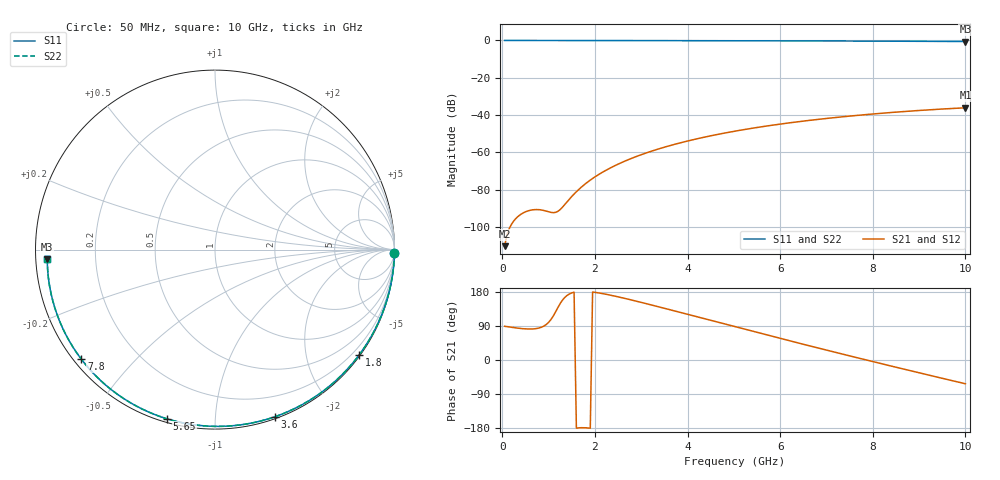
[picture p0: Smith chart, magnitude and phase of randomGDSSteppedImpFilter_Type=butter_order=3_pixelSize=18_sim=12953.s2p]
! freq	dB(S11)	phase(S11)	dB(S12)	phase(S12)
!  dB(S21)	phase(S21)	dB(S22)	phase(S22)
!S-par simulation data
#  GHz  S  DB  R 50
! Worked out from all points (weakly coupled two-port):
!   200 points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, 50 MHz to 10 GHz, reference 50 ohm
!   highest |S21| = -36.13 dB at 10 GHz (marker M1); lowest = -110.4 dB at 50 MHz (marker M2)
!   lowest |S11| = -0.6 dB at 10 GHz (marker M3), VSWR 30.34, Z = 1.65 - j1.45 ohm
!   |S11| at or under -10 dB: nowhere
!   |S22| runs from -0.6 to 0.0 dB; largest |S21 - S12| = 0
!   S11 on the Smith chart (normalised r, x): 50 MHz: open; 1.8 GHz: 0.03, -3.05; 3.6 GHz: 0.02, -1.42; 5.65 GHz: 0.02, -0.76; 7.8 GHz: 0.02, -0.36; 10 GHz: 0.03, -0.03
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0.05  -0.00 -1.0  -110.39 89.0  -110.39 89.0  -0.00 -1.0
0.4  -0.01 -8.2  -93.31 83.1  -93.31 83.1  -0.01 -8.2
0.8  -0.02 -16.3  -90.82 84.6  -90.82 84.6  -0.02 -16.3
1.2  -0.03 -24.4  -91.70 138.3  -91.70 138.3  -0.03 -24.4
1.65  -0.04 -33.3  -79.98 -179.0  -79.98 -179.0  -0.04 -33.3
1.75  -0.04 -35.3  -77.80 -178.6  -77.80 -178.6  -0.04 -35.3
1.8  -0.05 -36.3  -76.80 -178.9  -76.80 -178.9  -0.05 -36.3
2.1  -0.05 -42.1  -71.65 176.7  -71.65 176.7  -0.05 -42.1
2.3  -0.06 -46.0  -68.84 172.0  -68.84 172.0  -0.06 -46.0
2.5  -0.06 -49.8  -66.38 166.7  -66.38 166.7  -0.06 -49.8
2.9  -0.07 -57.4  -62.22 155.1  -62.22 155.1  -0.07 -57.4
3.4  -0.09 -66.7  -58.02 139.6  -58.02 139.6  -0.09 -66.7
3.6  -0.09 -70.3  -56.56 133.3  -56.56 133.3  -0.09 -70.3
4.3  -0.12 -82.8  -52.24 110.9  -52.24 110.9  -0.12 -82.8
5.05  -0.15 -95.8  -48.56 87.0  -48.56 87.0  -0.15 -95.8
5.65  -0.18 -105.8  -46.13 68.0  -46.13 68.0  -0.18 -105.8
6.15  -0.20 -114.0  -44.38 52.3  -44.38 52.3  -0.20 -114.0
6.7  -0.24 -123.0  -42.69 35.3  -42.69 35.3  -0.24 -123.0
7.8  -0.33 -140.6  -39.90 1.8  -39.90 1.8  -0.33 -140.6
8.35  -0.38 -149.4  -38.75 -14.6  -38.75 -14.6  -0.38 -149.4
9.2  -0.47 -163.2  -37.25 -39.6  -37.25 -39.6  -0.47 -163.2
10  -0.57 -176.7  -36.13 -62.7  -36.13 -62.7  -0.57 -176.7
